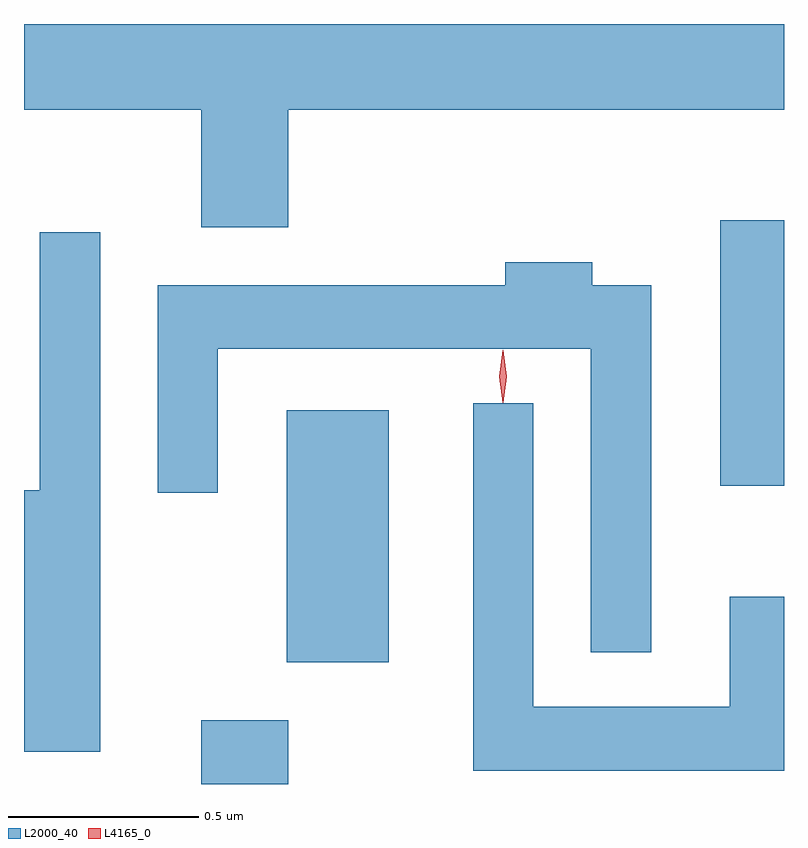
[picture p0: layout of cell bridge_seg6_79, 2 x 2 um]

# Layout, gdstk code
import gdstk
lib = gdstk.Library(unit=1e-6, precision=1e-09)
def R(c, l, rs):  # rectangles x0, y0, x1, y1
    for r in rs: c.add(gdstk.rectangle(r[:2], r[2:], *l))
def P(c, l, *ps):  # polygons
    for p in ps: c.add(gdstk.Polygon(p, *l))
L2000_40 = (2000, 40)
L4165_0 = (4165, 0)

bridge_seg6_79 = lib.new_cell('bridge_seg6_79')
R(bridge_seg6_79, L2000_40, [(1286.561,1657.041,1286.789,1657.209), (1286.786,1657.361,1287.054,1658.024), (1287.926,1657.826,1288.094,1658.524)])
P(bridge_seg6_79, L2000_40, [(1286.789,1658.816),(1288.094,1658.816),(1288.094,1659.041),(1286.094,1659.041),(1286.094,1658.816),(1286.561,1658.816),(1286.561,1658.506),(1286.789,1658.506)],
  [(1286.294,1658.493),(1286.136,1658.493),(1286.136,1657.814),(1286.094,1657.814),(1286.094,1657.126),(1286.294,1657.126)],
  [(1287.744,1658.354),(1287.589,1658.354),(1287.589,1658.414),(1287.361,1658.414),(1287.361,1658.354),(1286.446,1658.354),(1286.446,1657.808),(1286.604,1657.808),(1286.604,1658.186),(1287.586,1658.186),(1287.586,1657.388),(1287.744,1657.388)],
  [(1288.094,1657.534),(1287.951,1657.534),(1287.951,1657.244),(1287.434,1657.244),(1287.434,1658.043),(1287.276,1658.043),(1287.276,1657.076),(1288.094,1657.076)])
P(bridge_seg6_79, L4165_0, [(1287.355,1658.047),(1287.354,1658.048),(1287.345,1658.114),(1287.354,1658.18),(1287.355,1658.181),(1287.355,1658.18),(1287.365,1658.114),(1287.355,1658.048)],
  [(1287.354,1658.044),(1287.354,1658.044),(1287.344,1658.113),(1287.354,1658.182),(1287.354,1658.183),(1287.355,1658.182),(1287.364,1658.113),(1287.355,1658.044)])

lib.write_gds('bridge_seg6_79.gds')
